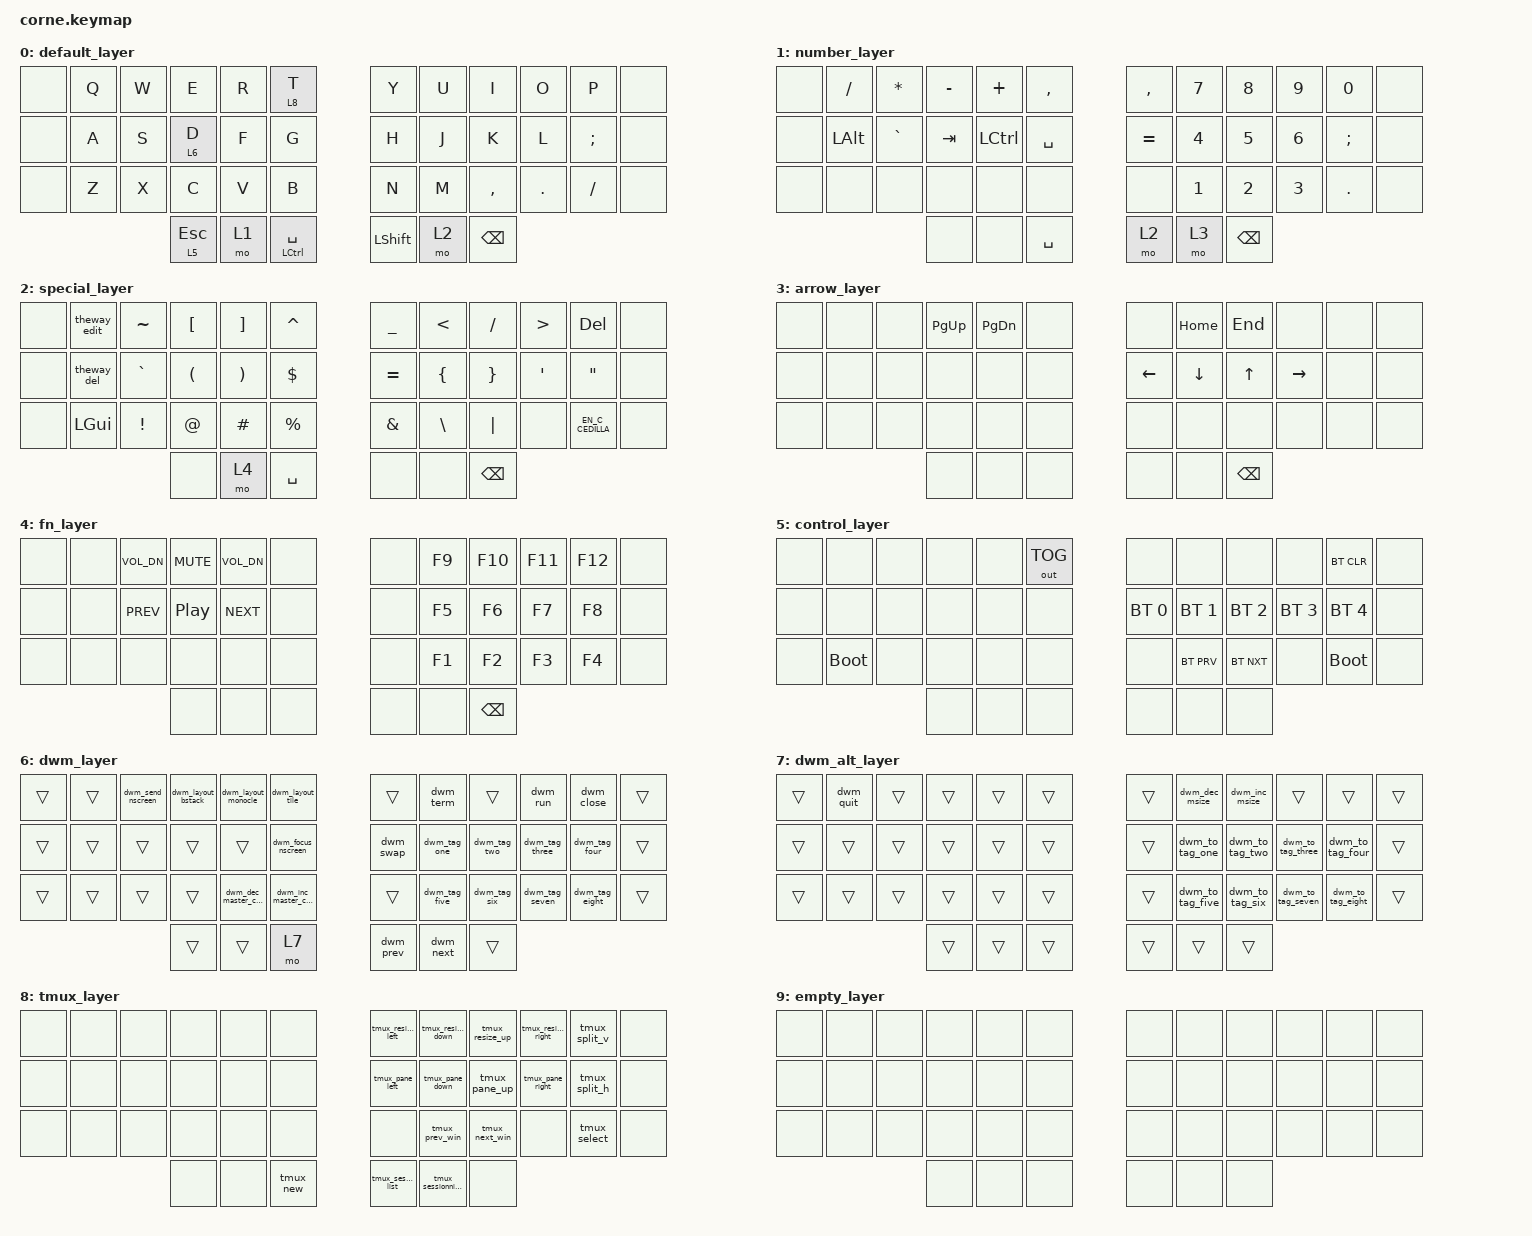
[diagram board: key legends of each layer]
/*
 * Copyright (c) 2020 The ZMK Contributors
 *
 * SPDX-License-Identifier: MIT
 */

#include <behaviors.dtsi>
#include <dt-bindings/zmk/keys.h>
#include <dt-bindings/zmk/bt.h>
#include <dt-bindings/zmk/outputs.h>
#include "keys_us_international.h"

&mt {
    tapping-term-ms = <400>;
};

/ {
    macros {
        dwm_term: dwm_term {
            compatible = "zmk,behavior-macro";
            #binding-cells = <0>;
            bindings
                = <&macro_press &kp LSHFT>
                    , <&macro_press &kp LALT>
                    , <&macro_tap &kp ENTER>
                    , <&macro_release &kp LALT>
                    , <&macro_release &kp LSHFT>
                    ;
        };

        dwm_swap: dwm_swap {
            compatible = "zmk,behavior-macro";
            #binding-cells = <0>;
            bindings
                = <&macro_press &kp LALT>
                    , <&macro_tap &kp ENTER>
                    , <&macro_release &kp LALT>
                    ;
        };

        dwm_run: dwm_run {
            compatible = "zmk,behavior-macro";
            #binding-cells = <0>;
            bindings
                = <&macro_press &kp LALT>
                    , <&macro_tap &kp P>
                    , <&macro_release &kp LALT>
                    ;
        };

        dwm_next: dwm_next {
            compatible = "zmk,behavior-macro";
            #binding-cells = <0>;
            bindings
                = <&macro_press &kp LALT>
                    , <&macro_tap &kp J>
                    , <&macro_release &kp LALT>
                    ;
        };

        dwm_prev: dwm_prev {
            compatible = "zmk,behavior-macro";
            #binding-cells = <0>;
            bindings
                = <&macro_press &kp LALT>
                    , <&macro_tap &kp K>
                    , <&macro_release &kp LALT>
                    ;
        };

        dwm_tag_one: dwm_tag_one {
            compatible = "zmk,behavior-macro";
            #binding-cells = <0>;
            bindings
                = <&macro_press &kp LALT>
                    , <&macro_tap &kp N1>
                    , <&macro_release &kp LALT>
                    ;
        };

        dwm_tag_two: dwm_tag_two {
            compatible = "zmk,behavior-macro";
            #binding-cells = <0>;
            bindings
                = <&macro_press &kp LALT>
                    , <&macro_tap &kp N2>
                    , <&macro_release &kp LALT>
                    ;
        };

        dwm_tag_three: dwm_tag_three {
            compatible = "zmk,behavior-macro";
            #binding-cells = <0>;
            bindings
                = <&macro_press &kp LALT>
                    , <&macro_tap &kp N3>
                    , <&macro_release &kp LALT>
                    ;
        };

        dwm_tag_four: dwm_tag_four {
            compatible = "zmk,behavior-macro";
            #binding-cells = <0>;
            bindings
                = <&macro_press &kp LALT>
                    , <&macro_tap &kp N4>
                    , <&macro_release &kp LALT>
                    ;
        };

        dwm_tag_five: dwm_tag_five {
            compatible = "zmk,behavior-macro";
            #binding-cells = <0>;
            bindings
                = <&macro_press &kp LALT>
                    , <&macro_tap &kp N5>
                    , <&macro_release &kp LALT>
                    ;
        };

        dwm_tag_six: dwm_tag_six {
            compatible = "zmk,behavior-macro";
            #binding-cells = <0>;
            bindings
                = <&macro_press &kp LALT>
                    , <&macro_tap &kp N6>
                    , <&macro_release &kp LALT>
                    ;
        };

        dwm_tag_seven: dwm_tag_seven {
            compatible = "zmk,behavior-macro";
            #binding-cells = <0>;
            bindings
                = <&macro_press &kp LALT>
                    , <&macro_tap &kp N7>
                    , <&macro_release &kp LALT>
                    ;
        };

        dwm_tag_eight: dwm_tag_eight {
            compatible = "zmk,behavior-macro";
            #binding-cells = <0>;
            bindings
                = <&macro_press &kp LALT>
                    , <&macro_tap &kp N8>
                    , <&macro_release &kp LALT>
                    ;
        };

        dwm_to_tag_one: dwm_to_tag_one {
            compatible = "zmk,behavior-macro";
            #binding-cells = <0>;
            bindings
                = <&macro_press &kp LALT>
                    , <&macro_press &kp LSHFT>
                    , <&macro_tap &kp N1>
                    , <&macro_release &kp LSHFT>
                    , <&macro_release &kp LALT>
                    ;
        };

        dwm_to_tag_two: dwm_to_tag_two {
            compatible = "zmk,behavior-macro";
            #binding-cells = <0>;
            bindings
                = <&macro_press &kp LALT>
                    , <&macro_press &kp LSHFT>
                    , <&macro_tap &kp N2>
                    , <&macro_release &kp LSHFT>
                    , <&macro_release &kp LALT>
                    ;
        };

        dwm_to_tag_three: dwm_to_tag_three {
            compatible = "zmk,behavior-macro";
            #binding-cells = <0>;
            bindings
                = <&macro_press &kp LALT>
                    , <&macro_press &kp LSHFT>
                    , <&macro_tap &kp N3>
                    , <&macro_release &kp LSHFT>
                    , <&macro_release &kp LALT>
                    ;
        };

        dwm_to_tag_four: dwm_to_tag_four {
            compatible = "zmk,behavior-macro";
            #binding-cells = <0>;
            bindings
                = <&macro_press &kp LALT>
                    , <&macro_press &kp LSHFT>
                    , <&macro_tap &kp N4>
                    , <&macro_release &kp LSHFT>
                    , <&macro_release &kp LALT>
                    ;
        };

        dwm_to_tag_five: dwm_to_tag_five {
            compatible = "zmk,behavior-macro";
            #binding-cells = <0>;
            bindings
                = <&macro_press &kp LALT>
                    , <&macro_press &kp LSHFT>
                    , <&macro_tap &kp N5>
                    , <&macro_release &kp LSHFT>
                    , <&macro_release &kp LALT>
                    ;
        };

        dwm_to_tag_six: dwm_to_tag_six {
            compatible = "zmk,behavior-macro";
            #binding-cells = <0>;
            bindings
                = <&macro_press &kp LALT>
                    , <&macro_press &kp LSHFT>
                    , <&macro_tap &kp N6>
                    , <&macro_release &kp LSHFT>
                    , <&macro_release &kp LALT>
                    ;
        };

        dwm_to_tag_seven: dwm_to_tag_seven {
            compatible = "zmk,behavior-macro";
            #binding-cells = <0>;
            bindings
                = <&macro_press &kp LALT>
                    , <&macro_press &kp LSHFT>
                    , <&macro_tap &kp N7>
                    , <&macro_release &kp LSHFT>
                    , <&macro_release &kp LALT>
                    ;
        };

        dwm_to_tag_eight: dwm_to_tag_eight {
            compatible = "zmk,behavior-macro";
            #binding-cells = <0>;
            bindings
                = <&macro_press &kp LALT>
                    , <&macro_press &kp LSHFT>
                    , <&macro_tap &kp N8>
                    , <&macro_release &kp LSHFT>
                    , <&macro_release &kp LALT>
                    ;
        };

        dwm_close: dwm_close {
            compatible = "zmk,behavior-macro";
            #binding-cells = <0>;
            bindings
                = <&macro_press &kp LALT>
                    , <&macro_press &kp LSHFT>
                    , <&macro_tap &kp C>
                    , <&macro_release &kp LSHFT>
                    , <&macro_release &kp LALT>
                    ;
        };

        dwm_quit: dwm_quit {
            compatible = "zmk,behavior-macro";
            #binding-cells = <0>;
            bindings
                = <&macro_press &kp LALT>
                    , <&macro_press &kp LSHFT>
                    , <&macro_tap &kp Q>
                    , <&macro_release &kp LSHFT>
                    , <&macro_release &kp LALT>
                    ;
        };

        dwm_inc_msize: dwm_inc_msize {
            compatible = "zmk,behavior-macro";
            #binding-cells = <0>;
            bindings
                = <&macro_press &kp LALT>
                    , <&macro_tap &kp L>
                    , <&macro_release &kp LALT>
                    ;
        };

        dwm_dec_msize: dwm_dec_msize {
            compatible = "zmk,behavior-macro";
            #binding-cells = <0>;
            bindings
                = <&macro_press &kp LALT>
                    , <&macro_tap &kp H>
                    , <&macro_release &kp LALT>
                    ;
        };

        dwm_layout_tile: dwm_layout_tile {
            compatible = "zmk,behavior-macro";
            #binding-cells = <0>;
            bindings
                = <&macro_press &kp LALT>
                    , <&macro_tap &kp T>
                    , <&macro_release &kp LALT>
                    ;
        };

        dwm_layout_monocle: dwm_layout_monocle {
            compatible = "zmk,behavior-macro";
            #binding-cells = <0>;
            bindings
                = <&macro_press &kp LALT>
                    , <&macro_tap &kp M>
                    , <&macro_release &kp LALT>
                    ;
        };

        dwm_layout_bstack: dwm_layout_bstack {
            compatible = "zmk,behavior-macro";
            #binding-cells = <0>;
            bindings
                = <&macro_press &kp LALT>
                    , <&macro_tap &kp U>
                    , <&macro_release &kp LALT>
                    ;
        };

        dwm_focus_nscreen: dwm_focus_nscreen {
            compatible = "zmk,behavior-macro";
            #binding-cells = <0>;
            bindings
                = <&macro_press &kp LALT>
                    , <&macro_tap &kp DOT>
                    , <&macro_release &kp LALT>
                    ;
        };

        dwm_send_nscreen: dwm_send_nscreen {
            compatible = "zmk,behavior-macro";
            #binding-cells = <0>;
            bindings
                = <&macro_press &kp LALT>
                    , <&macro_press &kp LSHFT>
                    , <&macro_tap &kp DOT>
                    , <&macro_release &kp LSHFT>
                    , <&macro_release &kp LALT>
                    ;
        };

        dwm_inc_master_count: dwm_inc_master_count {
            compatible = "zmk,behavior-macro";
            #binding-cells = <0>;
            bindings
                = <&macro_press &kp LALT>
                    , <&macro_tap &kp I>
                    , <&macro_release &kp LALT>
                    ;
        };

        dwm_dec_master_count: dwm_dec_master_count {
            compatible = "zmk,behavior-macro";
            #binding-cells = <0>;
            bindings
                = <&macro_press &kp LALT>
                    , <&macro_tap &kp D>
                    , <&macro_release &kp LALT>
                    ;
        };
        
        theway_edit: theway_edit {
            compatible = "zmk,behavior-macro";
            #binding-cells = <0>;
            bindings
                = <&macro_press &kp LSHFT>
                    , <&macro_tap &kp RIGHT>
                    , <&macro_release &kp LSHFT>
                    ;
        };

        theway_del: theway_del {
            compatible = "zmk,behavior-macro";
            #binding-cells = <0>;
            bindings
                = <&macro_press &kp LSHFT>
                    , <&macro_tap &kp LEFT>
                    , <&macro_release &kp LSHFT>
                    ;
        };

        tmux_new: tmux_new {
            compatible = "zmk,behavior-macro";
            #binding-cells = <0>;
            bindings
                = <&macro_press &kp LCTRL>
                    , <&macro_tap &kp B>
                    , <&macro_release &kp LCTRL>
                    , <&macro_tap &kp C>
                    ;
        };

        tmux_next_win: tmux_next_win {
            compatible = "zmk,behavior-macro";
            #binding-cells = <0>;
            bindings
                = <&macro_press &kp LCTRL>
                    , <&macro_tap &kp B>
                    , <&macro_release &kp LCTRL>
                    , <&macro_tap &kp N>
                    ;
        };

        tmux_prev_win: tmux_prev_win {
            compatible = "zmk,behavior-macro";
            #binding-cells = <0>;
            bindings
                = <&macro_press &kp LCTRL>
                    , <&macro_tap &kp B>
                    , <&macro_release &kp LCTRL>
                    , <&macro_tap &kp P>
                    ;
        };

        tmux_split_h: tmux_split_h {
            compatible = "zmk,behavior-macro";
            #binding-cells = <0>;
            bindings
                = <&macro_press &kp LCTRL>
                    , <&macro_tap &kp B>
                    , <&macro_release &kp LCTRL>
                    , <&macro_tap &kp PERCENT>
                    ;
        };

        tmux_split_v: tmux_split_v {
            compatible = "zmk,behavior-macro";
            #binding-cells = <0>;
            bindings
                = <&macro_press &kp LCTRL>
                    , <&macro_tap &kp B>
                    , <&macro_release &kp LCTRL>
                    , <&macro_tap &kp DQT>
                    ;
        };

        tmux_pane_up: tmux_pane_up {
            compatible = "zmk,behavior-macro";
            #binding-cells = <0>;
            bindings
                = <&macro_press &kp LCTRL>
                    , <&macro_tap &kp B>
                    , <&macro_release &kp LCTRL>
                    , <&macro_tap &kp UP>
                    ;
        };

        tmux_pane_right: tmux_pane_right {
            compatible = "zmk,behavior-macro";
            #binding-cells = <0>;
            bindings
                = <&macro_press &kp LCTRL>
                    , <&macro_tap &kp B>
                    , <&macro_release &kp LCTRL>
                    , <&macro_tap &kp RIGHT>
                    ;
        };
        tmux_pane_down: tmux_pane_down {
            compatible = "zmk,behavior-macro";
            #binding-cells = <0>;
            bindings
                = <&macro_press &kp LCTRL>
                    , <&macro_tap &kp B>
                    , <&macro_release &kp LCTRL>
                    , <&macro_tap &kp DOWN>
                    ;
        };

        tmux_pane_left: tmux_pane_left {
            compatible = "zmk,behavior-macro";
            #binding-cells = <0>;
            bindings
                = <&macro_press &kp LCTRL>
                    , <&macro_tap &kp B>
                    , <&macro_release &kp LCTRL>
                    , <&macro_tap &kp LEFT>
                    ;
        };

        tmux_resize_up: tmux_resize_up {
            compatible = "zmk,behavior-macro";
            #binding-cells = <0>;
            bindings
                = <&macro_press &kp LCTRL>
                    , <&macro_tap &kp B>
                    , <&macro_tap &kp UP>
                    , <&macro_release &kp LCTRL>
                    ;
        };

        tmux_resize_right: tmux_resize_right {
            compatible = "zmk,behavior-macro";
            #binding-cells = <0>;
            bindings
                = <&macro_press &kp LCTRL>
                    , <&macro_tap &kp B>
                    , <&macro_tap &kp RIGHT>
                    , <&macro_release &kp LCTRL>
                    ;
        };
        tmux_resize_down: tmux_resize_down {
            compatible = "zmk,behavior-macro";
            #binding-cells = <0>;
            bindings
                = <&macro_press &kp LCTRL>
                    , <&macro_tap &kp B>
                    , <&macro_tap &kp DOWN>
                    , <&macro_release &kp LCTRL>
                    ;
        };

        tmux_resize_left: tmux_resize_left {
            compatible = "zmk,behavior-macro";
            #binding-cells = <0>;
            bindings
                = <&macro_press &kp LCTRL>
                    , <&macro_tap &kp B>
                    , <&macro_tap &kp LEFT>
                    , <&macro_release &kp LCTRL>
                    ;
        };

        tmux_sessionnizer: tmux_sessionnizer {
            compatible = "zmk,behavior-macro";
            #binding-cells = <0>;
            bindings
                = <&macro_press &kp LCTRL>
                    , <&macro_tap &kp B>
                    , <&macro_release &kp LCTRL>
                    , <&macro_press &kp LSHFT>
                    , <&macro_tap &kp F>
                    , <&macro_release &kp LSHFT>
                    ;
        };

        tmux_session_list: tmux_session_list {
            compatible = "zmk,behavior-macro";
            #binding-cells = <0>;
            bindings
                = <&macro_press &kp LCTRL>
                    , <&macro_tap &kp B>
                    , <&macro_release &kp LCTRL>
                    , <&macro_tap &kp S>
                    ;
        };

        tmux_select: tmux_select {
            compatible = "zmk,behavior-macro";
            #binding-cells = <0>;
            bindings
                = <&macro_press &kp LCTRL>
                    , <&macro_tap &kp B>
                    , <&macro_release &kp LCTRL>
                    , <&macro_tap &kp LBKT>
                    ;
        };
    };

    combos {
        compatible = "zmk,combos";

        combo_caps {
            timeout-ms = <50>;
            key-positions = <18 19>;
            bindings = <&kp CAPS>;
            layers = <0>;
        };

        combo_tab {
            timeout-ms = <50>;
            key-positions = <19 20>;
            bindings = <&kp TAB>;
            layers = <0>;
        };

        combo_enter {
            timeout-ms = <50>;
            key-positions = <20 21>;
            bindings = <&kp ENTER>;
            layers = <0>;
        };

        combo_bslash {
            timeout-ms = <50>;
            key-positions = <31 32>;
            bindings = <&kp BACKSLASH>;
            layers = <0>;
        };

    };


    keymap {
        compatible = "zmk,keymap";

        // 0
        default_layer {
            bindings = <
   &none &kp Q &kp W &kp E     &kp R &lt 8 T             &kp Y     &kp U &kp I     &kp O   &kp P    &none
   &none &kp A &kp S &lt 6 D   &kp F &kp G               &kp H     &kp J &kp K     &kp L   &kp SEMI &none
   &none &kp Z &kp X &kp C     &kp V &kp B               &kp N     &kp M &kp COMMA &kp DOT &kp FSLH &none
                     &lt 5 ESC &mo 1 &mt LCTRL SPACE     &kp LSHFT &mo 2 &kp BSPC
            >;
        };

        // 1
        number_layer {
            bindings = <
   &none &kp FSLH &kp STAR  &kp MINUS &kp PLUS  &kp COMMA     &kp COMMA &kp N7 &kp N8   &kp N9 &kp N0   &none
   &none &kp LALT &kp GRAVE &kp TAB   &kp LCTRL &kp SPACE     &kp EQUAL &kp N4 &kp N5   &kp N6 &kp SEMI &none
   &none &none    &none     &none     &none     &none         &none     &kp N1 &kp N2   &kp N3 &kp DOT  &none
                            &none     &none     &kp SPACE     &mo 2     &mo 3  &kp BSPC
            >;
        };

        // 2
        special_layer {
            bindings = <
   &none &theway_edit &kp TILDE &kp LBKT &kp RBKT &kp CARET     &kp UNDER &kp LT   &kp SLASH &kp GT  &kp DEL          &none
   &none &theway_del  &kp GRAVE &kp LPAR &kp RPAR &kp DLLR      &kp EQUAL &kp LBRC &kp RBRC  &kp SQT &kp DQT          &none
   &none &kp LGUI     &kp EXCL  &kp AT   &kp HASH &kp PRCNT     &kp AMPS  &kp BSLH &kp PIPE  &none   &kp EN_C_CEDILLA &none
                                &none    &mo 4    &kp SPACE     &none     &none    &kp BSPC 
            >;
        };

        // 3
        arrow_layer {
            bindings = <
   &none &none &none &kp PG_UP &kp PG_DN &none     &none    &kp HOME &kp END  &none     &none &none
   &none &none &none &none     &none     &none     &kp LEFT &kp DOWN &kp UP   &kp RIGHT &none &none
   &none &none &none &none     &none     &none     &none    &none    &none    &none     &none &none
                     &none     &none     &none     &none    &none    &kp BSPC 
            >;
        };

        // 4
        fn_layer {
            bindings = <
   &none &none &kp C_VOL_DN &kp C_MUTE &kp C_VOL_DN &none     &none &kp F9 &kp F10 &kp F11 &kp F12 &none
   &none &none &kp C_PREV   &kp C_PP   &kp C_NEXT   &none     &none &kp F5 &kp F6  &kp F7  &kp F8  &none
   &none &none &none        &none      &none        &none     &none &kp F1 &kp F2  &kp F3  &kp F4  &none
                            &none      &none        &none     &none &none &kp BSPC 
            >;
        };

        // 5
        control_layer {
            bindings = <
   &none &none       &none &none &none &out OUT_TOG     &none        &none        &none        &none        &bt BT_CLR   &none 
   &none &none       &none &none &none &none            &bt BT_SEL 0 &bt BT_SEL 1 &bt BT_SEL 2 &bt BT_SEL 3 &bt BT_SEL 4 &none
   &none &bootloader &none &none &none &none            &none        &bt BT_PRV   &bt BT_NXT   &none        &bootloader  &none
                           &none &none &none            &none        &none        &none
            >;
        };

        // 6
        dwm_layer {
            bindings = <
   &trans &trans &dwm_send_nscreen &dwm_layout_bstack &dwm_layout_monocle   &dwm_layout_tile          &trans    &dwm_term     &trans       &dwm_run       &dwm_close     &trans
   &trans &trans &trans            &trans             &trans                &dwm_focus_nscreen        &dwm_swap &dwm_tag_one  &dwm_tag_two &dwm_tag_three &dwm_tag_four  &trans
   &trans &trans &trans            &trans             &dwm_dec_master_count &dwm_inc_master_count     &trans    &dwm_tag_five &dwm_tag_six &dwm_tag_seven &dwm_tag_eight &trans
                                   &trans             &trans                &mo 7                     &dwm_prev &dwm_next     &trans
            >;
        };

        // 7
        dwm_alt_layer {
            bindings = <
   &trans &dwm_quit &trans &trans &trans &trans    &trans &dwm_dec_msize   &dwm_inc_msize  &trans            &trans            &trans
   &trans &trans    &trans &trans &trans &trans    &trans &dwm_to_tag_one  &dwm_to_tag_two &dwm_to_tag_three &dwm_to_tag_four  &trans
   &trans &trans    &trans &trans &trans &trans    &trans &dwm_to_tag_five &dwm_to_tag_six &dwm_to_tag_seven &dwm_to_tag_eight &trans
                           &trans &trans &trans    &trans &trans           &trans
            >;
        };

        // 8
        tmux_layer {
            bindings = <
   &none &none &none &none &none &none         &tmux_resize_left  &tmux_resize_down  &tmux_resize_up &tmux_resize_right &tmux_split_v &none
   &none &none &none &none &none &none         &tmux_pane_left    &tmux_pane_down    &tmux_pane_up   &tmux_pane_right   &tmux_split_h &none
   &none &none &none &none &none &none         &none              &tmux_prev_win     &tmux_next_win  &none &tmux_select &none
                     &none &none &tmux_new     &tmux_session_list &tmux_sessionnizer &none
            >;
        };

        empty_layer {
            bindings = <
   &none &none &none &none &none &none     &none &none &none &none &none &none
   &none &none &none &none &none &none     &none &none &none &none &none &none
   &none &none &none &none &none &none     &none &none &none &none &none &none
                     &none &none &none     &none &none &none
            >;
        };
    };
};
